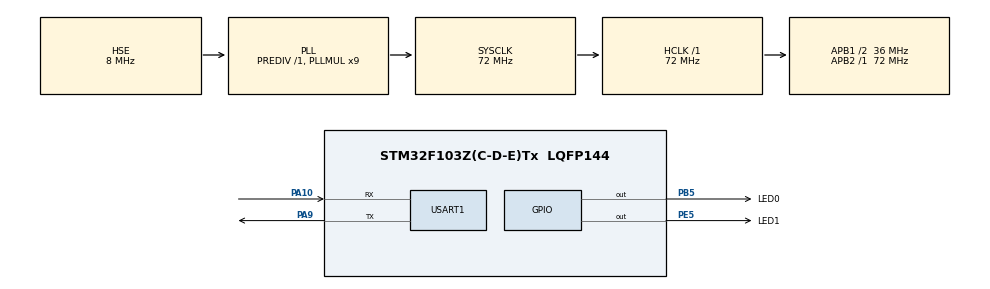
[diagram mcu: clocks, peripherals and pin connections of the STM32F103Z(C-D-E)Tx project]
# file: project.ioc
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Mcu.Family=STM32F1
Mcu.Name=STM32F103Z(C-D-E)Tx
Mcu.Package=LQFP144
NVIC.PriorityGroup=NVIC_PRIORITYGROUP_4
OSC_IN.Mode=HSE-External-Oscillator
OSC_IN.Signal=RCC_OSC_IN
OSC_OUT.Mode=HSE-External-Oscillator
OSC_OUT.Signal=RCC_OSC_OUT
PA10.GPIO_PuPd=GPIO_PULLUP
PA10.Mode=Asynchronous
PA10.Signal=USART1_RX
PA13.Mode=Serial_Wire
PA13.Signal=SYS_JTMS-SWDIO
PA14.Mode=Serial_Wire
PA14.Signal=SYS_JTCK-SWCLK
PA9.GPIO_Speed=GPIO_SPEED_FREQ_HIGH
PA9.Mode=Asynchronous
PA9.Signal=USART1_TX
PB5.GPIO_Label=LED0
PB5.GPIO_PuPd=GPIO_PULLUP
PB5.GPIO_Speed=GPIO_SPEED_FREQ_HIGH
PB5.PinState=GPIO_PIN_SET
PB5.Signal=GPIO_Output
PE5.GPIO_Label=LED1
PE5.GPIO_PuPd=GPIO_PULLUP
PE5.GPIO_Speed=GPIO_SPEED_FREQ_HIGH
PE5.PinState=GPIO_PIN_SET
PE5.Signal=GPIO_Output
ProjectManager.HeapSize=0x200
ProjectManager.StackSize=0x400
ProjectManager.TargetToolchain=MDK-ARM V5.32
RCC.AHBFreq_Value=72000000
RCC.APB1CLKDivider=RCC_HCLK_DIV2
RCC.APB1Freq_Value=36000000
RCC.APB1TimFreq_Value=72000000
RCC.APB2Freq_Value=72000000
RCC.APB2TimFreq_Value=72000000
RCC.HCLKFreq_Value=72000000
RCC.PLLMUL=RCC_PLL_MUL9
RCC.PLLSourceVirtual=RCC_PLLSOURCE_HSE
RCC.SYSCLKFreq_VALUE=72000000
RCC.SYSCLKSource=RCC_SYSCLKSOURCE_PLLCLK
RCC.USBFreq_Value=72000000
USART1.VirtualMode=VM_ASYNC
board=custom

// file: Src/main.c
/* USER CODE BEGIN Header */
/**
  ******************************************************************************
  * @file           : main.c
  * @brief          : Main program body
  ******************************************************************************
  * @attention
  *
  * Copyright (c) 2026 STMicroelectronics.
  * All rights reserved.
  *
  * This software is licensed under terms that can be found in the LICENSE file
  * in the root directory of this software component.
  * If no LICENSE file comes with this software, it is provided AS-IS.
  *
  ******************************************************************************
  */
/* USER CODE END Header */
#include "main.h"
#include "usart.h"
#include "gpio.h"

/* USER CODE BEGIN Includes */
#include <stdio.h>
#include <string.h>

/* 重定向 printf 到 USART1（Keil 必须勾选 Use MicroLIB 才有效） */
#ifdef __GNUC__
  #define PUTCHAR_PROTOTYPE int __io_putchar(int ch)
#else
  #define PUTCHAR_PROTOTYPE int fputc(int ch, FILE *f)
#endif

PUTCHAR_PROTOTYPE
{
  HAL_UART_Transmit(&huart1, (uint8_t *)&ch, 1, 0xFFFF);
  return ch;
}
/* USER CODE END Includes */

void SystemClock_Config(void);

int main(void)
{

  /* MCU Configuration--------------------------------------------------------*/

  /* Reset of all peripherals, Initializes the Flash interface and the Systick. */
  HAL_Init();

  /* Configure the system clock */
  SystemClock_Config();

  /* Initialize all configured peripherals */
  MX_GPIO_Init();
  MX_USART1_UART_Init();
  /* USER CODE BEGIN 2 */
	printf("\r\n===== D1: IoT OTA Led Blink Project =====\r\n");
  printf("System Clock: %u Hz\r\n", SystemCoreClock);  // 应该是 72000000
  printf("Build: %s %s\r\n", __DATE__, __TIME__);
  printf("LED0(PB5) LED1(PE5) Blinking every 500ms...\r\n");
  /* USER CODE END 2 */

  /* Infinite loop */
  /* USER CODE BEGIN WHILE */
  while (1)
  {
		HAL_GPIO_TogglePin(LED0_GPIO_Port, LED0_Pin);   // LED0 翻转一次
    HAL_GPIO_TogglePin(LED1_GPIO_Port, LED1_Pin);   // LED1 翻转一次（两灯交替灭亮）
    printf("[tick:%5u] LED toggled\r\n", HAL_GetTick());   // 打印系统节拍时间
    HAL_Delay(500);                                  // 延时 500 毫秒
    /* USER CODE END WHILE */

  }
}

void SystemClock_Config(void)
{
  RCC_OscInitTypeDef RCC_OscInitStruct = {0};
  RCC_ClkInitTypeDef RCC_ClkInitStruct = {0};

  /** Initializes the RCC Oscillators according to the specified parameters
  * in the RCC_OscInitTypeDef structure.
  */
  RCC_OscInitStruct.OscillatorType = RCC_OSCILLATORTYPE_HSE;
  RCC_OscInitStruct.HSEState = RCC_HSE_ON;
  RCC_OscInitStruct.HSEPredivValue = RCC_HSE_PREDIV_DIV1;
  RCC_OscInitStruct.HSIState = RCC_HSI_ON;
  RCC_OscInitStruct.PLL.PLLState = RCC_PLL_ON;
  RCC_OscInitStruct.PLL.PLLSource = RCC_PLLSOURCE_HSE;
  RCC_OscInitStruct.PLL.PLLMUL = RCC_PLL_MUL9;
  if (HAL_RCC_OscConfig(&RCC_OscInitStruct) != HAL_OK)
  {
    Error_Handler();
  }

  /** Initializes the CPU, AHB and APB buses clocks
  */
  RCC_ClkInitStruct.ClockType = RCC_CLOCKTYPE_HCLK|RCC_CLOCKTYPE_SYSCLK
                              |RCC_CLOCKTYPE_PCLK1|RCC_CLOCKTYPE_PCLK2;
  RCC_ClkInitStruct.SYSCLKSource = RCC_SYSCLKSOURCE_PLLCLK;
  RCC_ClkInitStruct.AHBCLKDivider = RCC_SYSCLK_DIV1;
  RCC_ClkInitStruct.APB1CLKDivider = RCC_HCLK_DIV2;
  RCC_ClkInitStruct.APB2CLKDivider = RCC_HCLK_DIV1;

  if (HAL_RCC_ClockConfig(&RCC_ClkInitStruct, FLASH_LATENCY_2) != HAL_OK)
  {
    Error_Handler();
  }
}

void Error_Handler(void)
{
  __disable_irq();
  while (1)
  {
  }
}
